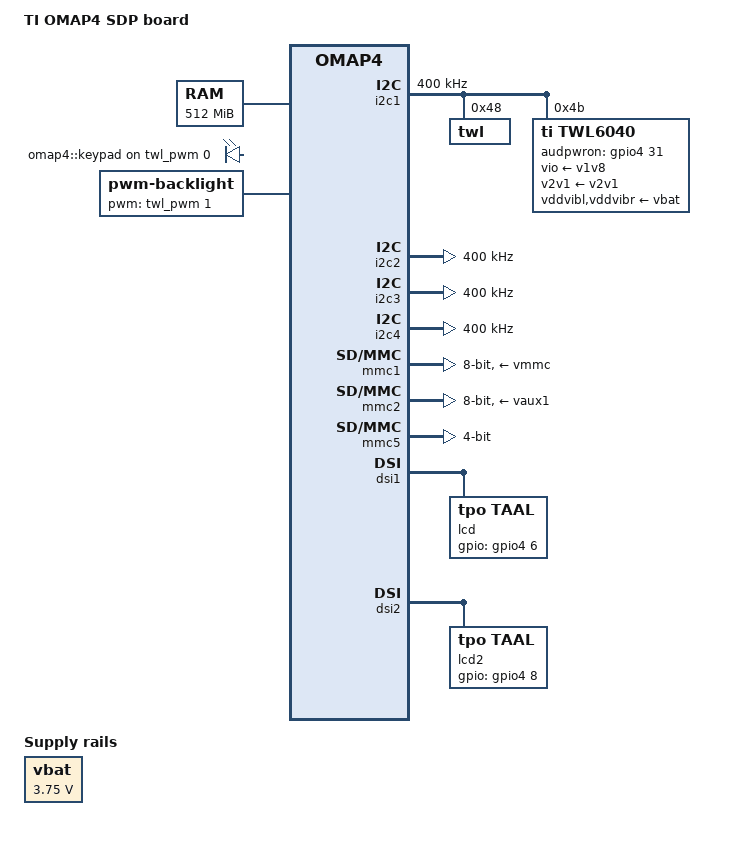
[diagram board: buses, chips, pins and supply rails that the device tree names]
/*
 * Copyright (C) 2011 Texas Instruments Incorporated - http://www.ti.com/
 *
 * This program is free software; you can redistribute it and/or modify
 * it under the terms of the GNU General Public License version 2 as
 * published by the Free Software Foundation.
 */
/dts-v1/;

/include/ "omap443x.dtsi"
/include/ "elpida_ecb240abacn.dtsi"

/ {
	model = "TI OMAP4 SDP board";
	compatible = "ti,omap4-sdp", "ti,omap4430", "ti,omap4";

	memory {
		device_type = "memory";
		reg = <0x80000000 0x20000000>; /* 512 M */
	};

	vbat: fixedregulator-vbat {
		compatible = "regulator-fixed";
		regulator-name = "VBAT";
		regulator-min-microvolt = <3750000>;
		regulator-max-microvolt = <3750000>;
		regulator-boot-on;
	};

	pwmleds {
		compatible = "pwm-leds";
		kpad {
			label = "omap4::keypad";
			pwms = <&twl_pwm 0 7812500>;
			max-brightness = <127>;
		};
	};

	backlight {
		compatible = "pwm-backlight";
		pwms = <&twl_pwm 1 7812500>;
		brightness-levels = <
				0 10 20 30 40
				50 60 70 80 90
				100 110 120 127
				>;
		default-brightness-level = <13>;
	};

	sound {
		compatible = "ti,abe-twl6040";
		ti,model = "SDP4430";

		ti,jack-detection = <1>;
		ti,mclk-freq = <38400000>;

		ti,mcpdm = <&mcpdm>;
		ti,dmic = <&dmic>;
		ti,mcasp = <&mcasp>;
		ti,mcbsp1 = <&mcbsp1>;
		ti,mcbsp2 = <&mcbsp2>;

		ti,twl6040 = <&twl6040>;

		ti,aess = <&aess>;

		/* Audio routing */
		ti,audio-routing =
			"Headset Stereophone", "HSOL",
			"Headset Stereophone", "HSOR",
			"Earphone Spk", "EP",
			"Ext Spk", "HFL",
			"Ext Spk", "HFR",
			"Line Out", "AUXL",
			"Line Out", "AUXR",
			"Vibrator", "VIBRAL",
			"Vibrator", "VIBRAR",
			"HSMIC", "Headset Mic",
			"Headset Mic", "Headset Mic Bias",
			"MAINMIC", "Main Handset Mic",
			"Main Handset Mic", "Main Mic Bias",
			"SUBMIC", "Sub Handset Mic",
			"Sub Handset Mic", "Main Mic Bias",
			"AFML", "Line In",
			"AFMR", "Line In",
			"DMic", "Digital Mic",
			"Digital Mic", "Digital Mic1 Bias",
			"Headset Playback", "PDM_DL1",
			"Handsfree Playback", "PDM_DL2",
			"PDM_UL1", "Capture",
			"40122000.mcbsp Playback", "BT_VX_DL",
			"BT_VX_UL", "40122000.mcbsp Capture",
			"40124000.mcbsp Playback", "MM_EXT_DL",
			"MM_EXT_UL", "40124000.mcbsp Capture",
			"DMIC0", "omap-dmic-abe.0 Capture",
			"omap-dmic-abe.0 Capture", "Digital Mic1 Bias",
			"Digital Mic1 Bias", "Digital Mic 0",
			"DMIC1", "omap-dmic-abe.1 Capture",
			"omap-dmic-abe.1 Capture", "Digital Mic1 Bias",
			"Digital Mic1 Bias", "Digital Mic 1",
			"DMIC2", "omap-dmic-abe.2 Capture",
			"omap-dmic-abe.2 Capture", "Digital Mic1 Bias",
			"Digital Mic1 Bias", "Digital Mic 2";
	};
};

&omap4_pmx_core {
	pinctrl-names = "default";
	pinctrl-0 = <
			&twl6040_pins
			&mcpdm_pins
			&dmic_pins
			&mcbsp1_pins
			&mcbsp2_pins
	>;

	uart2_pins: pinmux_uart2_pins {
		pinctrl-single,pins = <
			0xd8 0x118	/* uart2_cts.uart2_cts INPUT_PULLUP | MODE0 */
			0xda 0		/* uart2_rts.uart2_rts OUTPUT | MODE0 */
			0xdc 0x118	/* uart2_rx.uart2_rx INPUT_PULLUP | MODE0 */
			0xde 0		/* uart2_tx.uart2_tx OUTPUT | MODE0 */
		>;
	};

	uart3_pins: pinmux_uart3_pins {
		pinctrl-single,pins = <
			0x100 0x118	/* uart3_cts_rctx.uart3_cts_rctx INPUT_PULLUP | MODE0 */
			0x102 0		/* uart3_rts_sd.uart3_rts_sd OUTPUT | MODE0 */
			0x104 0x100	/* uart3_rx_irrx.uart3_rx_irrx INPUT | MODE0 */
			0x106 0		/* uart3_tx_irtx.uart3_tx_irtx OUTPUT | MODE0 */
		>;
	};

	uart4_pins: pinmux_uart4_pins {
		pinctrl-single,pins = <
			0x11c 0x100	/* uart4_rx.uart4_rx INPUT | MODE0 */
			0x11e 0		/* uart4_tx.uart4_tx OUTPUT | MODE0 */
		>;
	};

	twl6040_pins: pinmux_twl6040_pins {
		pinctrl-single,pins = <
			0xe0 0x3	/* hdq_sio.gpio_127 OUTPUT | MODE3 */
			0x160 0x100	/* sys_nirq2.sys_nirq2 INPUT | MODE0 */
		>;
	};

	mcpdm_pins: pinmux_mcpdm_pins {
		pinctrl-single,pins = <
			0xc6 0x108	/* abe_pdm_ul_data.abe_pdm_ul_data INPUT PULLDOWN | MODE0 */
			0xc8 0x108	/* abe_pdm_dl_data.abe_pdm_dl_data INPUT PULLDOWN | MODE0 */
			0xca 0x118	/* abe_pdm_frame.abe_pdm_frame INPUT PULLUP | MODE0 */
			0xcc 0x108	/* abe_pdm_lb_clk.abe_pdm_lb_clk INPUT PULLDOWN | MODE0 */
			0xce 0x108	/* abe_clks.abe_clks INPUT PULLDOWN | MODE0 */
		>;
	};

	dmic_pins: pinmux_dmic_pins {
		pinctrl-single,pins = <
			0xd0 0		/* abe_dmic_clk1.abe_dmic_clk1 OUTPUT | MODE0 */
			0xd2 0x100	/* abe_dmic_din1.abe_dmic_din1 INPUT | MODE0 */
			0xd4 0x100	/* abe_dmic_din2.abe_dmic_din2 INPUT | MODE0 */
			0xd6 0x100	/* abe_dmic_din3.abe_dmic_din3 INPUT | MODE0 */
		>;
	};

	mcbsp1_pins: pinmux_mcbsp1_pins {
		pinctrl-single,pins = <
			0xbe 0x100	/* abe_mcbsp1_clkx.abe_mcbsp1_clkx INPUT | MODE0 */
			0xc0 0x108	/* abe_mcbsp1_dr.abe_mcbsp1_dr INPUT PULLDOWN | MODE0 */
			0xc2 0x8	/* abe_mcbsp1_dx.abe_mcbsp1_dx OUTPUT PULLDOWN | MODE0 */
			0xc4 0x100	/* abe_mcbsp1_fsx.abe_mcbsp1_fsx INPUT | MODE0 */
		>;
	};

	mcbsp2_pins: pinmux_mcbsp2_pins {
		pinctrl-single,pins = <
			0xb6 0x100	/* abe_mcbsp2_clkx.abe_mcbsp2_clkx INPUT | MODE0 */
			0xb8 0x108	/* abe_mcbsp2_dr.abe_mcbsp2_dr INPUT PULLDOWN | MODE0 */
			0xba 0x8	/* abe_mcbsp2_dx.abe_mcbsp2_dx OUTPUT PULLDOWN | MODE0 */
			0xbc 0x100	/* abe_mcbsp2_fsx.abe_mcbsp2_fsx INPUT | MODE0 */
		>;
	};

	i2c1_pins: pinmux_i2c1_pins {
		pinctrl-single,pins = <
			0xe2 0x118        /* i2c1_scl PULLUP | INPUTENABLE | MODE0 */
			0xe4 0x118       /* i2c1_sda PULLUP | INPUTENABLE | MODE0 */
		>;
	};

	i2c2_pins: pinmux_i2c2_pins {
		pinctrl-single,pins = <
                        0xe6 0x118        /* i2c2_scl PULLUP | INPUTENABLE | MODE0 */
                        0xe8 0x118        /* i2c2_sda PULLUP | INPUTENABLE | MODE0 */
		>;
	};

	i2c3_pins: pinmux_i2c3_pins {
		pinctrl-single,pins = <
			0xea 0x118        /* i2c3_scl PULLUP | INPUTENABLE | MODE0 */
			0xec 0x118     /* i2c3_sda PULLUP | INPUTENABLE | MODE0 */
		>;
	};

	i2c4_pins: pinmux_i2c4_pins {
		pinctrl-single,pins = <
			0xee 0x118        /* i2c4_scl PULLUP | INPUTENABLE | MODE0 */
			0xf0 0x118     /* i2c4_sda PULLUP | INPUTENABLE | MODE0 */
		>;
	};
};

&i2c1 {
	pinctrl-names = "default";
	pinctrl-0 = <&i2c1_pins>;

	clock-frequency = <400000>;

	twl: twl@48 {
		reg = <0x48>;
		/* SPI = 0, IRQ# = 7, 4 = active high level-sensitive */
		interrupts = <0 7 4>; /* IRQ_SYS_1N cascaded to gic */
		interrupt-parent = <&gic>;
	};

	twl6040: twl@4b {
		compatible = "ti,twl6040";
		reg = <0x4b>;
		/* SPI = 0, IRQ# = 119, 4 = active high level-sensitive */
		interrupts = <0 119 4>; /* IRQ_SYS_2N cascaded to gic */
		interrupt-parent = <&gic>;
		ti,audpwron-gpio = <&gpio4 31 0>;  /* gpio line 127 */

		vio-supply = <&v1v8>;
		v2v1-supply = <&v2v1>;
		enable-active-high;

		/* regulators for vibra motor */
		vddvibl-supply = <&vbat>;
		vddvibr-supply = <&vbat>;

		vibra {
			/* Vibra driver, motor resistance parameters */
			ti,vibldrv-res = <8>;
			ti,vibrdrv-res = <3>;
			ti,viblmotor-res = <10>;
			ti,vibrmotor-res = <10>;
		};
		
		gpo {
			ti,nr_gpo = <3>;
		};
	};
};

/include/ "twl6030.dtsi"

&i2c2 {
	pinctrl-names = "default";
	pinctrl-0 = <&i2c2_pins>;

	clock-frequency = <400000>;
};

&i2c3 {
	pinctrl-names = "default";
	pinctrl-0 = <&i2c3_pins>;

	clock-frequency = <400000>;
};

&i2c4 {
	pinctrl-names = "default";
	pinctrl-0 = <&i2c4_pins>;

	clock-frequency = <400000>;
};

&mmc1 {
	vmmc-supply = <&vmmc>;
	bus-width = <8>;
};

&mmc2 {
	vmmc-supply = <&vaux1>;
	bus-width = <8>;
	ti,non-removable;
};

&mmc3 {
	status = "disabled";
};

&mmc4 {
	status = "disabled";
};

&mmc5 {
	bus-width = <4>;
	ti,non-removable;
};

&emif1 {
	cs1-used;
	device-handle = <&elpida_ECB240ABACN>;
};

&uart2 {
	pinctrl-names = "default";
	pinctrl-0 = <&uart2_pins>;
};

&uart3 {
	pinctrl-names = "default";
	pinctrl-0 = <&uart3_pins>;
};

&uart4 {
	pinctrl-names = "default";
	pinctrl-0 = <&uart4_pins>;
};

&mcbsp3 {
	status = "disabled";
};

&twl_usb_comparator {
	usb-supply = <&vusb>;
};


&usb_otg_hs {
	interface-type = <1>;
	mode = <3>;
	power = <50>;
};

&dsi1 {
	lcd {
		compatible = "tpo,taal";

		lanes = <
			0       /* clk + */
			1       /* clk - */
			2       /* data1 + */
			3       /* data1 - */
			4       /* data2 + */
			5       /* data2 - */
		>;

		gpios = <&gpio4 6 0>;	/* 102, reset */
	};
};

&dsi2 {
	lcd2 {
		compatible = "tpo,taal";

		lanes = <
			0       /* clk + */
			1       /* clk - */
			2       /* data1 + */
			3       /* data1 - */
			4       /* data2 + */
			5       /* data2 - */
		>;

		gpios = <&gpio4 8 0>;	/* 104, reset */
	};
};

